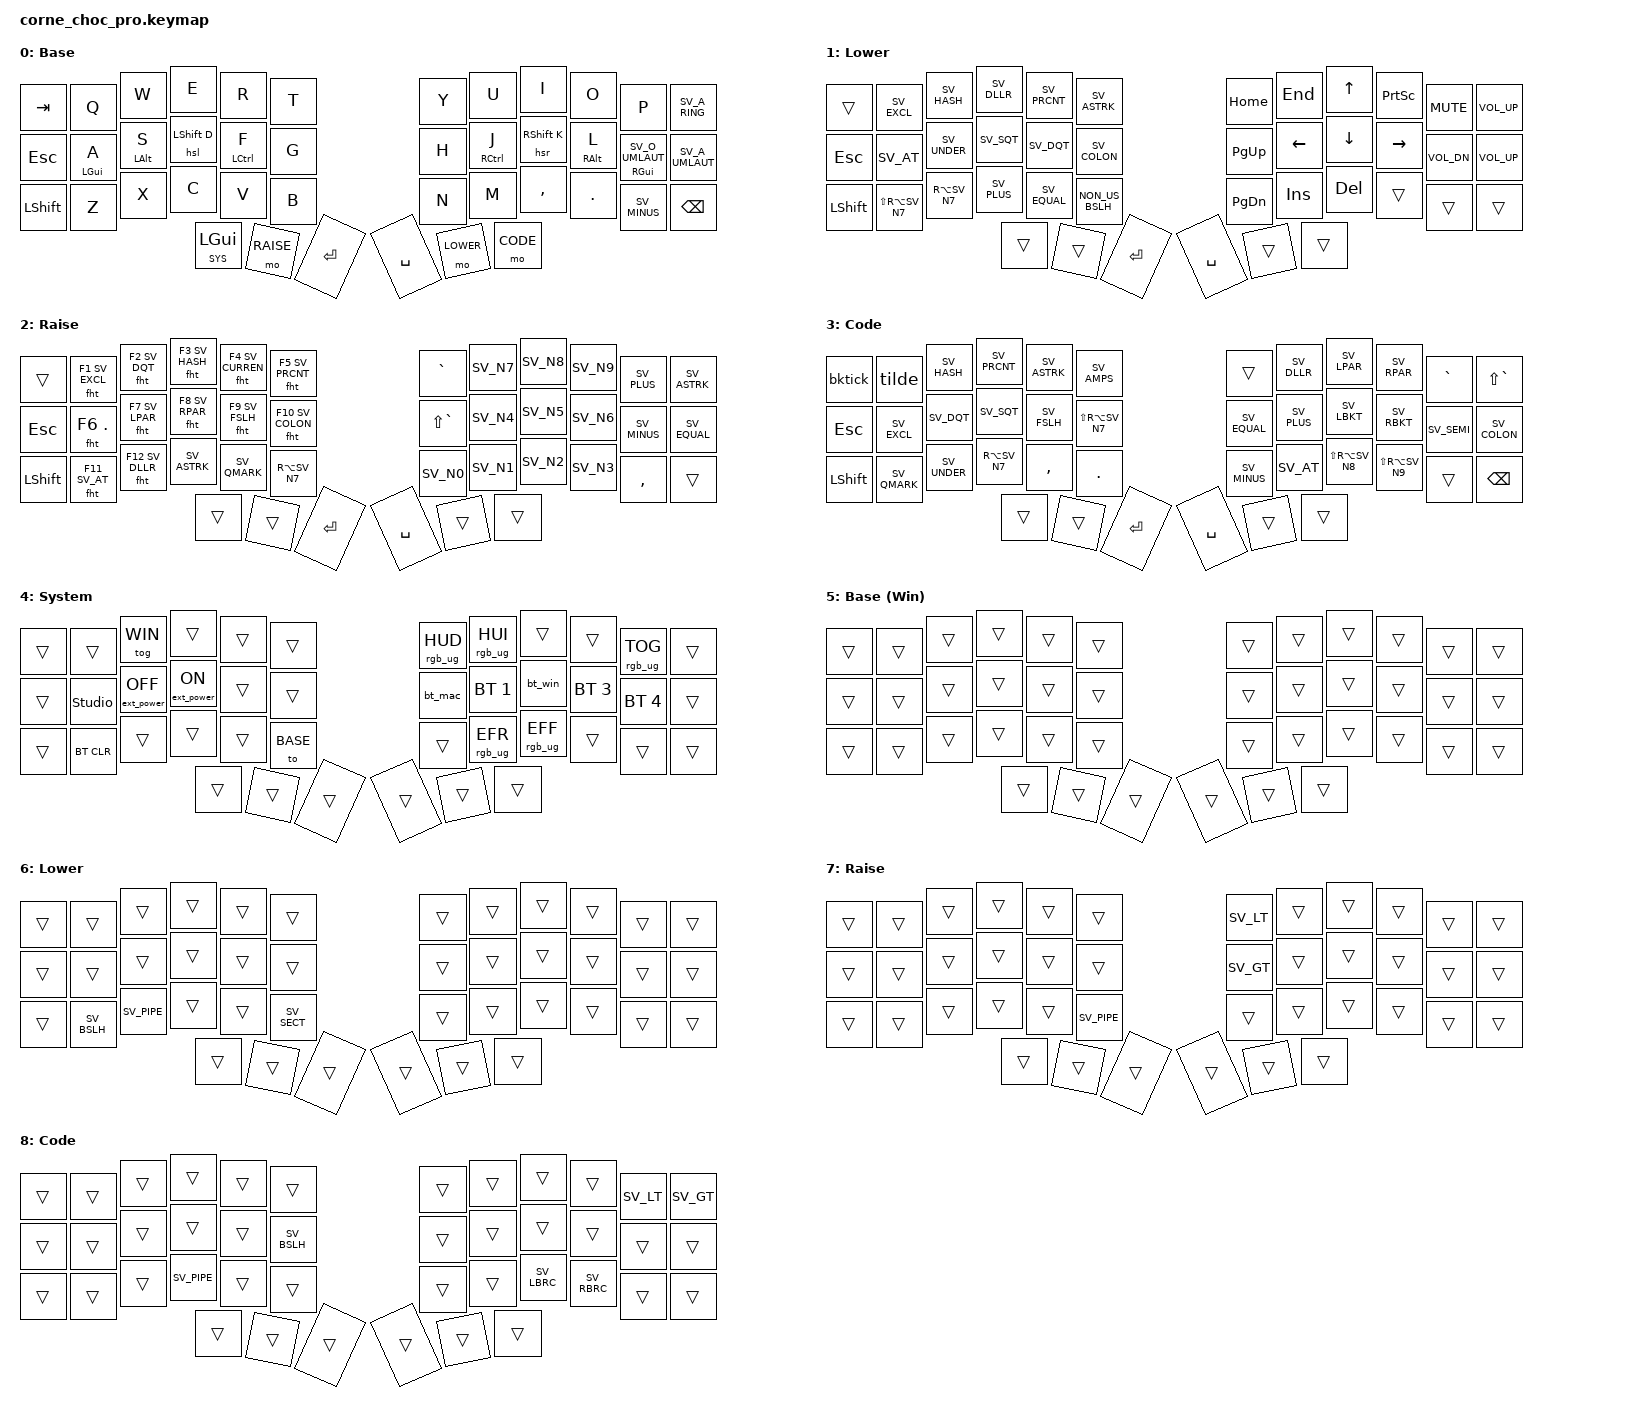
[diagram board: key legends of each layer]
/*
 * Keebart Corne Choc Pro BT with nice!view replacing the inner extra column.
 * Physical layout: 42 keys, 6 columns x 3 rows per half + 3-key thumb cluster.
 * Host layout: macOS Swedish by default. Selecting BT profile 3 (or SYS + W) switches
 * the symbol layers to Windows Swedish, see bt_mac/bt_win below.
 *
 * Legend: ▽ = transparent (falls through to BASE), ● = the key holding this layer,
 *         two-line keys show tap on top and hold below.
 *
 * Key positions (see zmk-helpers/key-labels/42.h):
 *   LT5 LT4 LT3 LT2 LT1 LT0   RT0 RT1 RT2 RT3 RT4 RT5
 *   LM5 LM4 LM3 LM2 LM1 LM0   RM0 RM1 RM2 RM3 RM4 RM5
 *   LB5 LB4 LB3 LB2 LB1 LB0   RB0 RB1 RB2 RB3 RB4 RB5
 *               LH2 LH1 LH0   RH0 RH1 RH2
 */

#include <behaviors.dtsi>
#include <dt-bindings/zmk/keys.h>
#include <dt-bindings/zmk/bt.h>
#include <dt-bindings/zmk/rgb.h>
#include <dt-bindings/zmk/ext_power.h>
#include <dt-bindings/zmk/matrix_transform.h>
#include <locale/keys_sv.h>
#include <zmk-helpers/helper.h>
#include <zmk-helpers/key-labels/42.h>

#define BASE  0
#define LOWER 1
#define RAISE 2
#define CODE  3
#define SYS   4
#define WIN   5  // Toggled from SYS. Activates the *_WIN overlays below.
#define LOWER_WIN 6
#define RAISE_WIN 7
#define CODE_WIN  8

/*
 * The layers below are written for macOS Swedish. A handful of symbols sit on other
 * keys there than on Windows Swedish (the SV_* codes from zmk-locales). macOS also
 * swaps the § and < keys on ISO keyboards. With WIN toggled on, the *_WIN overlays
 * send the Windows codes for exactly those symbols.
 */
#define MAC_LT   GRAVE
#define MAC_GT   LS(GRAVE)
#define MAC_SECT NON_US_BSLH
#define MAC_PIPE RA(SV_N7)
#define MAC_BSLH LS(RA(SV_N7))
#define MAC_LBRC LS(RA(SV_N8))
#define MAC_RBRC LS(RA(SV_N9))

/* Every key on each half, including the outer columns (Tab/Esc/Shift, Å/Ä/Bksp). */
#define KEYS_L LT0 LT1 LT2 LT3 LT4 LT5 LM0 LM1 LM2 LM3 LM4 LM5 LB0 LB1 LB2 LB3 LB4 LB5
#define KEYS_R RT0 RT1 RT2 RT3 RT4 RT5 RM0 RM1 RM2 RM3 RM4 RM5 RB0 RB1 RB2 RB3 RB4 RB5
#define THUMBS LH2 LH1 LH0 RH0 RH1 RH2

/* ── Home row mods ──────────────────────────────────────────────────────────────────────
 * Positional: a mod only activates when the next key is on the opposite hand (or a thumb),
 * so same-hand rolls always type letters. To shift a right-hand letter use D, for a
 * left-hand letter use K.
 *
 * Gui/Alt/Ctrl and Shift use separate behaviors. Shift is used mid-word and is often
 * released before the shifted key (a roll), which "balanced" reads as two taps ("dm"
 * instead of "M"). The shorter tapping term makes Shift resolve as a hold sooner.
 */

/* Left-hand Gui/Alt/Ctrl. */
ZMK_HOLD_TAP(hml,
    flavor = "balanced";
    tapping-term-ms = <220>;
    quick-tap-ms = <175>;
    require-prior-idle-ms = <0>;
    bindings = <&kp>, <&kp>;
    hold-trigger-key-positions = <KEYS_R THUMBS>;
    hold-trigger-on-release;
)

/* Right-hand Gui/Alt/Ctrl. */
ZMK_HOLD_TAP(hmr,
    flavor = "balanced";
    tapping-term-ms = <220>;
    quick-tap-ms = <175>;
    require-prior-idle-ms = <0>;
    bindings = <&kp>, <&kp>;
    hold-trigger-key-positions = <KEYS_L THUMBS>;
    hold-trigger-on-release;
)

/* Left-hand Shift (D). */
ZMK_HOLD_TAP(hsl,
    flavor = "balanced";
    tapping-term-ms = <170>;
    quick-tap-ms = <175>;
    require-prior-idle-ms = <0>;
    bindings = <&kp>, <&kp>;
    hold-trigger-key-positions = <KEYS_R THUMBS>;
    hold-trigger-on-release;
)

/* Right-hand Shift (K). */
ZMK_HOLD_TAP(hsr,
    flavor = "balanced";
    tapping-term-ms = <170>;
    quick-tap-ms = <175>;
    require-prior-idle-ms = <0>;
    bindings = <&kp>, <&kp>;
    hold-trigger-key-positions = <KEYS_L THUMBS>;
    hold-trigger-on-release;
)

/* Tap for a symbol/number, hold for an F-key (RAISE layer). */
ZMK_HOLD_TAP(fht,
    flavor = "tap-preferred";
    tapping-term-ms = <220>;
    quick-tap-ms = <150>;
    bindings = <&kp>, <&kp>;
)

/* Backtick and tilde are dead keys on Swedish layouts; add a space so they are typed right away. */
ZMK_MACRO(bktick,
    wait-ms = <0>;
    tap-ms = <0>;
    bindings = <&kp SV_GRAVE &kp SPACE>;
)

ZMK_MACRO(tilde,
    wait-ms = <0>;
    tap-ms = <0>;
    bindings = <&kp SV_TILDE &kp SPACE>;
)

/*
 * BT profile 1 is the Mac and profile 3 the Windows PC (numbered as on the display;
 * BT_SEL counts from 0). Selecting either one also switches the symbol layers to
 * that OS. The OS mode is not saved: after a restart it is Mac again, so on the
 * Windows PC press SYS + BT 3 once (or SYS + W).
 */
ZMK_MACRO(bt_mac,
    wait-ms = <0>;
    tap-ms = <0>;
    bindings = <&bt BT_SEL 0>, <&to BASE>;
)

ZMK_MACRO(bt_win,
    wait-ms = <0>;
    tap-ms = <0>;
    bindings = <&bt BT_SEL 2>, <&to WIN>;
)

/*
 * Keep the board's existing default_transform label so the right-half board file
 * still applies its col-offset = <7> override.
 */
&default_transform {
    rows = <4>;
    columns = <14>;
    map = <
        RC(0,0) RC(0,1) RC(0,2) RC(0,3) RC(0,4) RC(0,5)  RC(0,8) RC(0,9) RC(0,10) RC(0,11) RC(0,12) RC(0,13)
        RC(1,0) RC(1,1) RC(1,2) RC(1,3) RC(1,4) RC(1,5)  RC(1,8) RC(1,9) RC(1,10) RC(1,11) RC(1,12) RC(1,13)
        RC(2,0) RC(2,1) RC(2,2) RC(2,3) RC(2,4) RC(2,5)  RC(2,8) RC(2,9) RC(2,10) RC(2,11) RC(2,12) RC(2,13)
                                RC(3,3) RC(3,4) RC(3,5)  RC(3,8) RC(3,9) RC(3,10)
    >;
};

/ {
    chosen {
        zmk,physical-layout = &hybrid42_layout;
    };

    hybrid42_layout: hybrid42_layout {
        compatible = "zmk,physical-layout";
        display-name = "Hybrid 42";
        transform = <&default_transform>;
        keys
            = <&key_physical_attrs 100 100    0   37       0     0     0>
            , <&key_physical_attrs 100 100  100   37       0     0     0>
            , <&key_physical_attrs 100 100  200   12       0     0     0>
            , <&key_physical_attrs 100 100  300    0       0     0     0>
            , <&key_physical_attrs 100 100  400   12       0     0     0>
            , <&key_physical_attrs 100 100  500   24       0     0     0>
            , <&key_physical_attrs 100 100  800   24       0     0     0>
            , <&key_physical_attrs 100 100  900   12       0     0     0>
            , <&key_physical_attrs 100 100 1000    0       0     0     0>
            , <&key_physical_attrs 100 100 1100   12       0     0     0>
            , <&key_physical_attrs 100 100 1200   37       0     0     0>
            , <&key_physical_attrs 100 100 1300   37       0     0     0>

            , <&key_physical_attrs 100 100    0  137       0     0     0>
            , <&key_physical_attrs 100 100  100  137       0     0     0>
            , <&key_physical_attrs 100 100  200  112       0     0     0>
            , <&key_physical_attrs 100 100  300  100       0     0     0>
            , <&key_physical_attrs 100 100  400  112       0     0     0>
            , <&key_physical_attrs 100 100  500  124       0     0     0>
            , <&key_physical_attrs 100 100  800  124       0     0     0>
            , <&key_physical_attrs 100 100  900  112       0     0     0>
            , <&key_physical_attrs 100 100 1000  100       0     0     0>
            , <&key_physical_attrs 100 100 1100  112       0     0     0>
            , <&key_physical_attrs 100 100 1200  137       0     0     0>
            , <&key_physical_attrs 100 100 1300  137       0     0     0>

            , <&key_physical_attrs 100 100    0  237       0     0     0>
            , <&key_physical_attrs 100 100  100  237       0     0     0>
            , <&key_physical_attrs 100 100  200  212       0     0     0>
            , <&key_physical_attrs 100 100  300  200       0     0     0>
            , <&key_physical_attrs 100 100  400  212       0     0     0>
            , <&key_physical_attrs 100 100  500  224       0     0     0>
            , <&key_physical_attrs 100 100  800  224       0     0     0>
            , <&key_physical_attrs 100 100  900  212       0     0     0>
            , <&key_physical_attrs 100 100 1000  200       0     0     0>
            , <&key_physical_attrs 100 100 1100  212       0     0     0>
            , <&key_physical_attrs 100 100 1200  237       0     0     0>
            , <&key_physical_attrs 100 100 1300  237       0     0     0>

            , <&key_physical_attrs 100 100  350  312       0     0     0>
            , <&key_physical_attrs 100 100  450  312    1200   450   412>
            , <&key_physical_attrs 100 150  548  283    2400   548   433>
            , <&key_physical_attrs 100 150  752  283 (-2400)   852   433>
            , <&key_physical_attrs 100 100  850  312 (-1200)   950   412>
            , <&key_physical_attrs 100 100  950  312       0     0     0>
            ;
    };

    combos {
        compatible = "zmk,combos";
        combo_code {
            timeout-ms = <50>;
            key-positions = <LH1 RH1>;
            bindings = <&mo CODE>;
        };
    };

    conditional_layers {
        compatible = "zmk,conditional-layers";
        lower_win { if-layers = <WIN LOWER>; then-layer = <LOWER_WIN>; };
        raise_win { if-layers = <WIN RAISE>; then-layer = <RAISE_WIN>; };
        code_win  { if-layers = <WIN CODE>;  then-layer = <CODE_WIN>;  };
    };

    keymap {
        compatible = "zmk,keymap";

        /* BASE ────────────────────────────────────────────────────────────────────────────────────
         * ╭──────┬──────┬──────┬──────┬──────┬──────╮   ╭──────┬──────┬──────┬──────┬──────┬──────╮
         * │ Tab  │  Q   │  W   │  E   │  R   │  T   │   │  Y   │  U   │  I   │  O   │  P   │  Å   │
         * ├──────┼──────┼──────┼──────┼──────┼──────┤   ├──────┼──────┼──────┼──────┼──────┼──────┤
         * │ Esc  │  A   │  S   │  D   │  F   │  G   │   │  H   │  J   │  K   │  L   │  Ö   │  Ä   │
         * │      │ Gui  │ Alt  │Shift │ Ctrl │      │   │      │ Ctrl │Shift │ Alt  │ Gui  │      │
         * ├──────┼──────┼──────┼──────┼──────┼──────┤   ├──────┼──────┼──────┼──────┼──────┼──────┤
         * │Shift │  Z   │  X   │  C   │  V   │  B   │   │  N   │  M   │  ,   │  .   │  -   │ Bksp │
         * ╰──────┴──────┴──────┼──────┼──────┼──────┤   ├──────┼──────┼──────┼──────┴──────┴──────╯
         *                      │ Gui  │RAISE │Enter │   │Space │LOWER │ CODE │
         *                      │ SYS  │      │      │   │      │      │      │
         *                      ╰──────┴──────┴──────╯   ╰──────┴──────┴──────╯
         *
         * Hold Gui/SYS for the system layer. Combo RAISE + LOWER = CODE.
         */
        base_layer {
            display-name = "Base";
            bindings = <
  &kp TAB    &kp Q        &kp W        &kp E         &kp R         &kp T     &kp Y      &kp U         &kp I         &kp O        &kp P                  &kp SV_A_RING
  &kp ESC    &hml LGUI A  &hml LALT S  &hsl LSHFT D  &hml LCTRL F  &kp G     &kp H      &hmr RCTRL J  &hsr RSHFT K  &hmr RALT L  &hmr RGUI SV_O_UMLAUT  &kp SV_A_UMLAUT
  &kp LSHFT  &kp Z        &kp X        &kp C         &kp V         &kp B     &kp N      &kp M         &kp COMMA     &kp DOT      &kp SV_MINUS           &kp BSPC
                                       &lt SYS LGUI  &mo RAISE     &kp RET   &kp SPACE  &mo LOWER     &mo CODE
            >;
        };

        /* LOWER  (symbols + navigation) ───────────────────────────────────────────────────────────
         * ╭──────┬──────┬──────┬──────┬──────┬──────╮   ╭──────┬──────┬──────┬──────┬──────┬──────╮
         * │  ▽   │  !   │  #   │  $   │  %   │  *   │   │ Home │ End  │  ↑   │PrtSc │ Mute │ Vol+ │
         * ├──────┼──────┼──────┼──────┼──────┼──────┤   ├──────┼──────┼──────┼──────┼──────┼──────┤
         * │ Esc  │  @   │  _   │  '   │  "   │  :   │   │ PgUp │  ←   │  ↓   │  →   │ Vol- │ Vol+ │
         * ├──────┼──────┼──────┼──────┼──────┼──────┤   ├──────┼──────┼──────┼──────┼──────┼──────┤
         * │Shift │  \   │  |   │  +   │  =   │  §   │   │ PgDn │ Ins  │ Del  │  ▽   │  ▽   │  ▽   │
         * ╰──────┴──────┴──────┼──────┼──────┼──────┤   ├──────┼──────┼──────┼──────┴──────┴──────╯
         *                      │  ▽   │  ▽   │Enter │   │Space │  ●   │  ▽   │
         *                      ╰──────┴──────┴──────╯   ╰──────┴──────┴──────╯
         */
        lower_layer {
            display-name = "Lower";
            bindings = <
  &trans     &kp SV_EXCL   &kp SV_HASH   &kp SV_DLLR  &kp SV_PRCNT  &kp SV_ASTRK   &kp HOME   &kp END   &kp UP      &kp PSCRN  &kp C_MUTE    &kp C_VOL_UP
  &kp ESC    &kp SV_AT     &kp SV_UNDER  &kp SV_SQT   &kp SV_DQT    &kp SV_COLON   &kp PG_UP  &kp LEFT  &kp DOWN    &kp RIGHT  &kp C_VOL_DN  &kp C_VOL_UP
  &kp LSHFT  &kp MAC_BSLH  &kp MAC_PIPE  &kp SV_PLUS  &kp SV_EQUAL  &kp MAC_SECT   &kp PG_DN  &kp INS   &kp DELETE  &trans     &trans        &trans
                                         &trans       &trans        &kp RET        &kp SPACE  &trans    &trans
            >;
        };

        /* RAISE  (numbers + F-keys; tap = top, hold = bottom) ─────────────────────────────────────
         * ╭──────┬──────┬──────┬──────┬──────┬──────╮   ╭──────┬──────┬──────┬──────┬──────┬──────╮
         * │  ▽   │  !   │  "   │  #   │  €   │  %   │   │  <   │  7   │  8   │  9   │  +   │  *   │
         * │      │  F1  │  F2  │  F3  │  F4  │  F5  │   │      │      │      │      │      │      │
         * ├──────┼──────┼──────┼──────┼──────┼──────┤   ├──────┼──────┼──────┼──────┼──────┼──────┤
         * │ Esc  │  .   │  (   │  )   │  /   │  :   │   │  >   │  4   │  5   │  6   │  -   │  =   │
         * │      │  F6  │  F7  │  F8  │  F9  │ F10  │   │      │      │      │      │      │      │
         * ├──────┼──────┼──────┼──────┼──────┼──────┤   ├──────┼──────┼──────┼──────┼──────┼──────┤
         * │Shift │  @   │  $   │  *   │  ?   │  |   │   │  0   │  1   │  2   │  3   │  ,   │  ▽   │
         * │      │ F11  │ F12  │      │      │      │   │      │      │      │      │      │      │
         * ╰──────┴──────┴──────┼──────┼──────┼──────┤   ├──────┼──────┼──────┼──────┴──────┴──────╯
         *                      │  ▽   │  ●   │Enter │   │Space │  ▽   │  ▽   │
         *                      ╰──────┴──────┴──────╯   ╰──────┴──────┴──────╯
         *
         * F4 tap is € on macOS and ¤ on Windows (both Shift+4).
         */
        raise_layer {
            display-name = "Raise";
            bindings = <
  &trans     &fht F1 SV_EXCL  &fht F2 SV_DQT    &fht F3 SV_HASH  &fht F4 SV_CURREN  &fht F5 SV_PRCNT    &kp MAC_LT  &kp SV_N7  &kp SV_N8  &kp SV_N9  &kp SV_PLUS   &kp SV_ASTRK
  &kp ESC    &fht F6 DOT      &fht F7 SV_LPAR   &fht F8 SV_RPAR  &fht F9 SV_FSLH    &fht F10 SV_COLON   &kp MAC_GT  &kp SV_N4  &kp SV_N5  &kp SV_N6  &kp SV_MINUS  &kp SV_EQUAL
  &kp LSHFT  &fht F11 SV_AT   &fht F12 SV_DLLR  &kp SV_ASTRK     &kp SV_QMARK       &kp MAC_PIPE        &kp SV_N0   &kp SV_N1  &kp SV_N2  &kp SV_N3  &kp COMMA     &trans
                                                &trans           &trans             &kp RET             &kp SPACE   &trans     &trans
            >;
        };

        /* CODE  (programming symbols) ─────────────────────────────────────────────────────────────
         * ╭──────┬──────┬──────┬──────┬──────┬──────╮   ╭──────┬──────┬──────┬──────┬──────┬──────╮
         * │  `   │  ~   │  #   │  %   │  *   │  &   │   │  ▽   │  $   │  (   │  )   │  <   │  >   │
         * ├──────┼──────┼──────┼──────┼──────┼──────┤   ├──────┼──────┼──────┼──────┼──────┼──────┤
         * │ Esc  │  !   │  "   │  '   │  /   │  \   │   │  =   │  +   │  [   │  ]   │  ;   │  :   │
         * ├──────┼──────┼──────┼──────┼──────┼──────┤   ├──────┼──────┼──────┼──────┼──────┼──────┤
         * │Shift │  ?   │  _   │  |   │  ,   │  .   │   │  -   │  @   │  {   │  }   │  ▽   │ Bksp │
         * ╰──────┴──────┴──────┼──────┼──────┼──────┤   ├──────┼──────┼──────┼──────┴──────┴──────╯
         *                      │  ▽   │  ▽   │Enter │   │Space │  ▽   │  ●   │
         *                      ╰──────┴──────┴──────╯   ╰──────┴──────┴──────╯
         *
         * ` and ~ send the key + Space, since they are dead keys on Swedish layouts.
         */
        code_layer {
            display-name = "Code";
            bindings = <
  &bktick    &tilde        &kp SV_HASH   &kp SV_PRCNT  &kp SV_ASTRK  &kp SV_AMPS    &trans        &kp SV_DLLR  &kp SV_LPAR   &kp SV_RPAR   &kp MAC_LT   &kp MAC_GT
  &kp ESC    &kp SV_EXCL   &kp SV_DQT    &kp SV_SQT    &kp SV_FSLH   &kp MAC_BSLH   &kp SV_EQUAL  &kp SV_PLUS  &kp SV_LBKT   &kp SV_RBKT   &kp SV_SEMI  &kp SV_COLON
  &kp LSHFT  &kp SV_QMARK  &kp SV_UNDER  &kp MAC_PIPE  &kp COMMA     &kp DOT        &kp SV_MINUS  &kp SV_AT    &kp MAC_LBRC  &kp MAC_RBRC  &trans       &kp BSPC
                                         &trans        &trans        &kp RET        &kp SPACE     &trans       &trans
            >;
        };

        /* SYS  (bluetooth, lighting, power) ───────────────────────────────────────────────────────
         * ╭──────┬──────┬──────┬──────┬──────┬──────╮   ╭──────┬──────┬──────┬──────┬──────┬──────╮
         * │  ▽   │  ▽   │ Win  │  ▽   │  ▽   │  ▽   │   │ Hue- │ Hue+ │  ▽   │  ▽   │ RGB  │  ▽   │
         * │      │      │ mode │      │      │      │   │      │      │      │      │      │      │
         * ├──────┼──────┼──────┼──────┼──────┼──────┤   ├──────┼──────┼──────┼──────┼──────┼──────┤
         * │  ▽   │Studio│ExtOff│ExtOn │  ▽   │  ▽   │   │ BT 1 │ BT 2 │ BT 3 │ BT 4 │ BT 5 │  ▽   │
         * │      │      │      │      │      │      │   │ Mac  │      │ Win  │      │      │      │
         * ├──────┼──────┼──────┼──────┼──────┼──────┤   ├──────┼──────┼──────┼──────┼──────┼──────┤
         * │  ▽   │BTClr │  ▽   │  ▽   │  ▽   │ Base │   │  ▽   │ Eff- │ Eff+ │  ▽   │  ▽   │  ▽   │
         * │      │      │      │      │      │(Mac) │   │      │      │      │      │      │      │
         * ╰──────┴──────┴──────┼──────┼──────┼──────┤   ├──────┼──────┼──────┼──────┴──────┴──────╯
         *                      │  ●   │  ▽   │  ▽   │   │  ▽   │  ▽   │  ▽   │
         *                      ╰──────┴──────┴──────╯   ╰──────┴──────┴──────╯
         */
        sys_layer {
            display-name = "System";
            bindings = <
  &trans  &trans          &tog WIN           &trans            &trans  &trans     &rgb_ug RGB_HUD  &rgb_ug RGB_HUI  &trans           &trans        &rgb_ug RGB_TOG  &trans
  &trans  &studio_unlock  &ext_power EP_OFF  &ext_power EP_ON  &trans  &trans     &bt_mac          &bt BT_SEL 1     &bt_win          &bt BT_SEL 3  &bt BT_SEL 4     &trans
  &trans  &bt BT_CLR      &trans             &trans            &trans  &to BASE   &trans           &rgb_ug RGB_EFR  &rgb_ug RGB_EFF  &trans        &trans           &trans
                                             &trans            &trans  &trans     &trans           &trans           &trans
            >;
        };

        /* Windows overlays ─────────────────────────────────────────────────────────────────────
         * Only active while WIN is toggled on, on top of the layer they belong to. Each one
         * swaps in the Windows code for the symbols that differ: \ | § < > { }.
         */
        win_layer {
            display-name = "Base (Win)";
            bindings = <
  &trans  &trans  &trans  &trans  &trans  &trans   &trans  &trans  &trans  &trans  &trans  &trans
  &trans  &trans  &trans  &trans  &trans  &trans   &trans  &trans  &trans  &trans  &trans  &trans
  &trans  &trans  &trans  &trans  &trans  &trans   &trans  &trans  &trans  &trans  &trans  &trans
                          &trans  &trans  &trans   &trans  &trans  &trans
            >;
        };

        lower_win_layer {
            display-name = "Lower";
            bindings = <
  &trans  &trans       &trans       &trans  &trans  &trans        &trans  &trans  &trans  &trans  &trans  &trans
  &trans  &trans       &trans       &trans  &trans  &trans        &trans  &trans  &trans  &trans  &trans  &trans
  &trans  &kp SV_BSLH  &kp SV_PIPE  &trans  &trans  &kp SV_SECT   &trans  &trans  &trans  &trans  &trans  &trans
                                    &trans  &trans  &trans        &trans  &trans  &trans
            >;
        };

        raise_win_layer {
            display-name = "Raise";
            bindings = <
  &trans  &trans  &trans  &trans  &trans  &trans        &kp SV_LT  &trans  &trans  &trans  &trans  &trans
  &trans  &trans  &trans  &trans  &trans  &trans        &kp SV_GT  &trans  &trans  &trans  &trans  &trans
  &trans  &trans  &trans  &trans  &trans  &kp SV_PIPE   &trans     &trans  &trans  &trans  &trans  &trans
                          &trans  &trans  &trans        &trans     &trans  &trans
            >;
        };

        code_win_layer {
            display-name = "Code";
            bindings = <
  &trans  &trans  &trans  &trans       &trans  &trans        &trans  &trans  &trans       &trans       &kp SV_LT  &kp SV_GT
  &trans  &trans  &trans  &trans       &trans  &kp SV_BSLH   &trans  &trans  &trans       &trans       &trans     &trans
  &trans  &trans  &trans  &kp SV_PIPE  &trans  &trans        &trans  &trans  &kp SV_LBRC  &kp SV_RBRC  &trans     &trans
                          &trans       &trans  &trans        &trans  &trans  &trans
            >;
        };
    };
};
